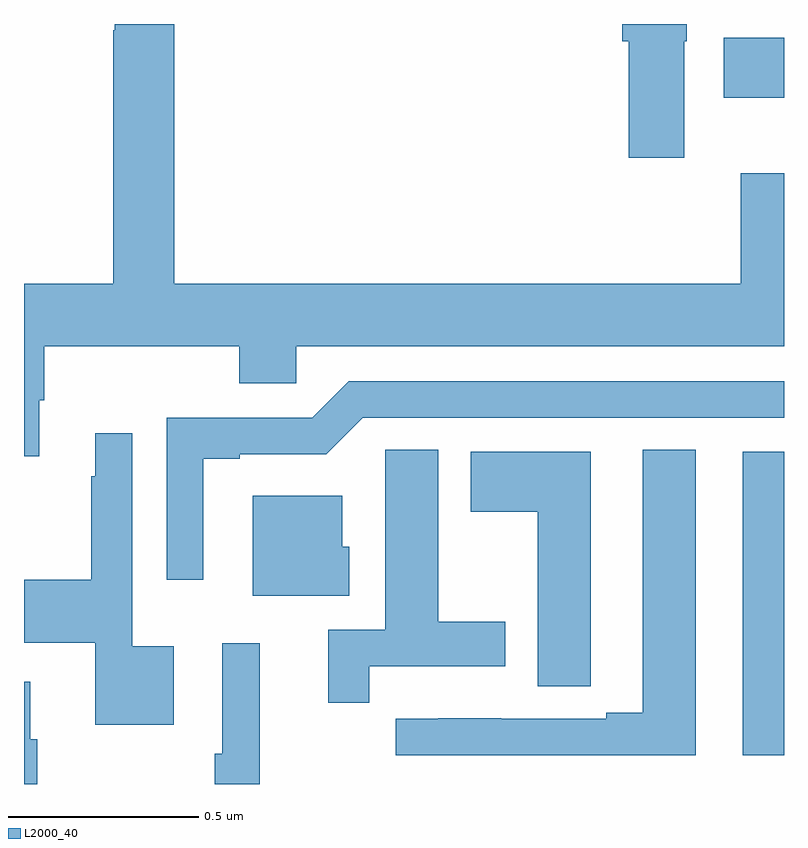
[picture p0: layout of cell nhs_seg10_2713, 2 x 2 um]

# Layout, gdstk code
import gdstk
lib = gdstk.Library(unit=1e-6, precision=1e-09)
def R(c, l, rs):  # rectangles x0, y0, x1, y1
    for r in rs: c.add(gdstk.rectangle(r[:2], r[2:], *l))
def P(c, l, *ps):  # polygons
    for p in ps: c.add(gdstk.Polygon(p, *l))
L2000_40 = (2000, 40)

nhs_seg10_2713 = lib.new_cell('nhs_seg10_2713')
R(nhs_seg10_2713, L2000_40, [(145.892,1296.576,146,1297.374), (145.842,1298.306,146,1298.464)])
P(nhs_seg10_2713, L2000_40, [(144.04,1297.51),(144.053,1297.51),(144.053,1297.652),(144.566,1297.652),(144.566,1297.554),(144.717,1297.554),(144.717,1297.652),(146,1297.652),(146,1298.107),(145.886,1298.107),(145.886,1297.816),(144.395,1297.816),(144.395,1298.5),(144.239,1298.5),(144.239,1298.483),(144.235,1298.483),(144.235,1297.816),(144,1297.816),(144,1297.362),(144.04,1297.362)],
  [(145.738,1298.454),(145.744,1298.454),(145.744,1298.5),(145.574,1298.5),(145.574,1298.454),(145.592,1298.454),(145.592,1298.148),(145.738,1298.148)],
  [(144.472,1297.356),(144.568,1297.356),(144.568,1297.368),(144.795,1297.368),(144.891,1297.464),(146,1297.464),(146,1297.56),(144.855,1297.56),(144.759,1297.464),(144.375,1297.464),(144.375,1297.038),(144.472,1297.038)],
  [(144.394,1296.862),(144.285,1296.862),(144.285,1297.423),(144.188,1297.423),(144.188,1297.31),(144.177,1297.31),(144.177,1297.038),(144,1297.038),(144,1296.872),(144.188,1296.872),(144.188,1296.656),(144.394,1296.656)],
  [(145.768,1297.379),(145.628,1297.379),(145.628,1296.687),(145.532,1296.687),(145.532,1296.672),(145.256,1296.672),(145.256,1296.673),(145.09,1296.673),(145.09,1296.672),(144.978,1296.672),(144.978,1296.576),(145.768,1296.576)],
  [(144.908,1296.81),(145.267,1296.81),(145.267,1296.927),(145.09,1296.927),(145.09,1297.379),(144.951,1297.379),(144.951,1297.268),(144.95,1297.268),(144.95,1296.906),(144.8,1296.906),(144.8,1296.714),(144.908,1296.714)],
  [(145.491,1296.865),(145.492,1296.865),(145.492,1297.375),(145.175,1297.375),(145.175,1297.216),(145.352,1297.216),(145.352,1296.757),(145.491,1296.757)],
  [(144.856,1297.125),(144.838,1297.125),(144.838,1297.258),(144.602,1297.258),(144.602,1296.995),(144.856,1296.995)],
  [(144.62,1296.871),(144.522,1296.871),(144.522,1296.58),(144.502,1296.58),(144.502,1296.5),(144.62,1296.5)],
  [(144.035,1296.618),(144.016,1296.618),(144.016,1296.769),(144,1296.769),(144,1296.5),(144.035,1296.5)])

lib.write_gds('nhs_seg10_2713.gds')
